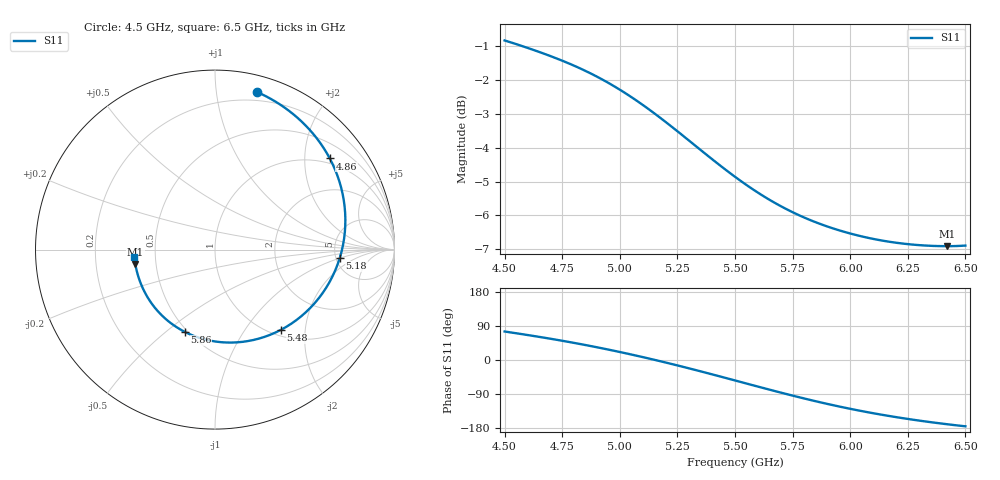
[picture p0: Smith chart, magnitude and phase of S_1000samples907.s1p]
! TOUCHSTONE file generated by CST MICROWAVE STUDIO
! Date and time: Sat Oct 29 18:32:20 2022
! Project name: L.cst
! Parameters = {Di=1.27; Epsilon_r=1.56; InnerDiameter=1.27; Length=2; Lf=10; Lg=60; OuterConductorThickness=0.2921; OuterDiameter=3.6; Wf=3; Wp=41.2; de=1.5; df=6.8; g=0.8; gx=2.0853; gy=2.12043; h=2.34; hf=1.524; px=11.0195; py=9.50209; w=9.7; wx=8.93415; wy=7.38167}
! Header version: 2018
! Port assignment regex: !\s*Touchstone port\s*([0-9]+)\s*=\s*(CST MWS port|CST DS port)\s*([0-9]+|Zmin|Zmax)\s*\(\"(.*)\"\)(\s*mode\s*([0-9]+))?.*
! Touchstone port assignment:
! Touchstone port 1 = CST MWS port 1 ("")
# GHz S DB R 50
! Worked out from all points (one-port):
!   101 points, 4.5 GHz to 6.5 GHz, reference 50 ohm
!   lowest |S11| = -6.9 dB at 6.42 GHz (marker M1), VSWR 2.65, Z = 19 - j3.95 ohm
!   |S11| at or under -10 dB: nowhere
!   S11 on the Smith chart (normalised r, x): 4.5 GHz: 0.13, +1.29; 4.86 GHz: 0.86, +2.62; 5.18 GHz: 5.41, -0.98; 5.48 GHz: 1.11, -1.49; 5.86 GHz: 0.48, -0.58; 6.5 GHz: 0.38, -0.04
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4.5  -0.83 75.2
4.58  -1.01 67.8
4.64  -1.15 62.0
4.7  -1.30 56.0
4.76  -1.46 49.7
4.86  -1.76 38.4
4.94  -2.04 28.8
5  -2.28 21.1
5.06  -2.55 13.1
5.1  -2.74 7.6
5.18  -3.14 -3.9
5.26  -3.57 -15.8
5.32  -3.90 -25.1
5.38  -4.23 -34.6
5.44  -4.55 -44.2
5.48  -4.76 -50.7
5.5  -4.86 -54.0
5.56  -5.15 -63.8
5.62  -5.41 -73.5
5.68  -5.66 -83.1
5.76  -5.94 -95.5
5.86  -6.23 -110.2
5.92  -6.37 -118.5
6  -6.53 -128.8
6.12  -6.72 -142.6
6.26  -6.85 -156.4
6.42  -6.91 -169.4
6.5  -6.89 -175.0
